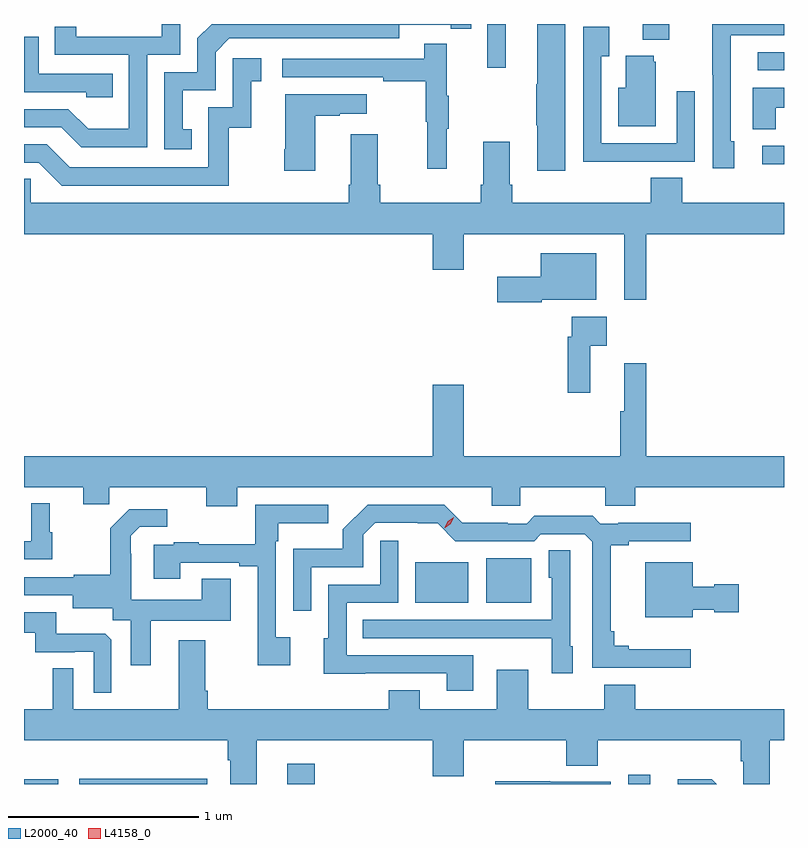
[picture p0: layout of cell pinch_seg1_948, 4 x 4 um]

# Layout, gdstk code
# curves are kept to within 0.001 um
import gdstk
lib = gdstk.Library(unit=1e-6, precision=1e-09)
def R(c, l, rs):  # rectangles x0, y0, x1, y1
    for r in rs: c.add(gdstk.rectangle(r[:2], r[2:], *l))
def P(c, l, *ps):  # polygons
    for p in ps: c.add(gdstk.Polygon(p, *l))
L2000_40 = (2000, 40)
L4158_0 = (4158, 0)

pinch_seg1_948 = lib.new_cell('pinch_seg1_948')
R(pinch_seg1_948, L2000_40, [(186.834,510.21,187.014,510.236), (187.125,510.21,187.798,510.238), (188.219,510.21,188.363,510.316), (190.014,510.21,190.129,510.259), (188.894,511.163,189.172,511.378), (189.266,511.163,189.505,511.399), (190.719,513.472,190.834,513.57), (190.695,513.966,190.834,514.062), (189.273,513.981,189.37,514.21), (190.091,514.127,190.231,514.21)])
P(pinch_seg1_948, L2000_40, [(190.573,513.594),(190.554,513.594),(190.554,514.152),(190.834,514.152),(190.834,514.21),(190.456,514.21),(190.456,513.943),(190.458,513.943),(190.458,513.45),(190.573,513.45)],
  [(187.718,513.657),(187.669,513.657),(187.669,513.861),(187.842,513.861),(187.842,514.062),(187.914,514.134),(188.808,514.134),(188.808,514.206),(189.08,514.206),(189.08,514.186),(189.188,514.186),(189.188,514.21),(187.822,514.21),(187.746,514.134),(187.746,513.957),(187.572,513.957),(187.572,513.552),(187.718,513.552)],
  [(187.482,514.047),(187.656,514.047),(187.656,514.21),(187.559,514.21),(187.559,514.143),(187.108,514.143),(187.108,514.195),(186.997,514.195),(186.997,514.047),(187.386,514.047),(187.386,513.658),(187.172,513.658),(187.068,513.762),(186.834,513.762),(186.834,513.666),(187.031,513.666),(187.136,513.561),(187.482,513.561)],
  [(189.682,514.21),(189.536,514.21),(189.536,513.893),(189.529,513.893),(189.529,513.676),(189.536,513.676),(189.536,513.438),(189.682,513.438)],
  [(190.049,513.486),(190.365,513.486),(190.365,513.856),(190.269,513.856),(190.269,513.582),(189.873,513.582),(189.873,514.039),(189.913,514.039),(189.913,514.195),(189.777,514.195),(189.777,513.485),(190.049,513.485)],
  [(187.301,513.948),(186.912,513.948),(186.912,514.143),(186.834,514.143),(186.834,513.852),(187.161,513.852),(187.161,513.825),(187.301,513.825)],
  [(189.059,513.659),(189.07,513.659),(189.07,513.833),(189.059,513.833),(189.059,514.105),(188.941,514.105),(188.941,514.026),(188.193,514.026),(188.193,513.93),(188.725,513.93),(188.725,513.91),(188.949,513.91),(188.949,513.696),(188.956,513.696),(188.956,513.447),(189.059,513.447)],
  [(190.159,514.011),(190.148,514.011),(190.148,514.042),(190.001,514.042),(190.001,513.874),(189.962,513.874),(189.962,513.671),(190.159,513.671)],
  [(187.912,513.663),(188.03,513.663),(188.03,513.909),(188.083,513.909),(188.083,514.03),(187.932,514.03),(187.932,513.771),(187.803,513.771),(187.803,513.456),(187.074,513.456),(186.954,513.576),(186.834,513.576),(186.834,513.48),(186.912,513.48),(187.032,513.36),(187.912,513.36)],
  [(190.791,513.77),(190.834,513.77),(190.834,513.874),(190.67,513.874),(190.67,513.655),(190.791,513.655)],
  [(188.368,513.727),(188.495,513.727),(188.495,513.737),(188.638,513.737),(188.638,513.841),(188.21,513.841),(188.21,513.55),(188.203,513.55),(188.203,513.438),(188.368,513.438)],
  [(190.109,513.104),(190.834,513.104),(190.834,513.268),(190.298,513.268),(190.298,513.401),(190.133,513.401),(190.133,513.268),(189.404,513.268),(189.404,513.364),(189.391,513.364),(189.391,513.589),(189.251,513.589),(189.251,513.364),(189.239,513.364),(189.239,513.268),(188.708,513.268),(188.708,513.364),(188.695,513.364),(188.695,513.631),(188.555,513.631),(188.555,513.364),(188.543,513.364),(188.543,513.268),(186.87,513.268),(186.87,513.395),(186.834,513.395),(186.834,513.104),(188.984,513.104),(188.984,512.916),(189.148,512.916),(189.148,513.104),(189.992,513.104),(189.992,512.76),(190.109,512.76)],
  [(189.558,512.759),(189.847,512.759),(189.847,513.004),(189.554,513.004),(189.554,512.881),(189.324,512.881),(189.324,512.746),(189.558,512.746)],
  [(189.815,512.516),(189.901,512.516),(189.901,512.668),(189.717,512.668),(189.717,512.564),(189.697,512.564),(189.697,512.268),(189.815,512.268)],
  [(187.957,511.772),(189.296,511.772),(189.296,511.674),(189.447,511.674),(189.447,511.772),(189.892,511.772),(189.892,511.674),(190.052,511.674),(190.052,511.772),(190.834,511.772),(190.834,511.936),(190.109,511.936),(190.109,512.425),(189.992,512.425),(189.992,512.172),(189.973,512.172),(189.973,511.936),(189.148,511.936),(189.148,512.311),(188.984,512.311),(188.984,511.936),(186.834,511.936),(186.834,511.772),(187.145,511.772),(187.145,511.682),(187.283,511.682),(187.283,511.772),(187.793,511.772),(187.793,511.673),(187.957,511.673)],
  [(186.982,511.536),(186.97,511.536),(186.97,511.687),(186.872,511.687),(186.872,511.488),(186.834,511.488),(186.834,511.392),(186.982,511.392)],
  [(188.236,510.982),(188.16,510.982),(188.16,511.487),(188.173,511.487),(188.173,511.583),(188.434,511.583),(188.434,511.68),(188.052,511.68),(188.052,511.472),(187.753,511.472),(187.753,511.483),(187.621,511.483),(187.621,511.47),(187.517,511.47),(187.517,511.29),(187.657,511.29),(187.657,511.374),(187.967,511.374),(187.967,511.356),(188.063,511.356),(188.063,510.834),(188.236,510.834)],
  [(190.342,510.919),(190.018,510.919),(190.018,510.938),(189.941,510.938),(189.941,511.015),(189.923,511.015),(189.923,511.466),(190.018,511.466),(190.018,511.488),(190.342,511.488),(190.342,511.586),(189.961,511.586),(189.961,511.581),(189.867,511.581),(189.827,511.621),(189.52,511.621),(189.48,511.581),(189.38,511.581),(189.38,511.586),(189.14,511.586),(189.045,511.68),(188.642,511.68),(188.512,511.55),(188.512,511.447),(188.25,511.447),(188.25,511.122),(188.346,511.122),(188.346,511.35),(188.619,511.35),(188.619,511.521),(188.682,511.584),(189.011,511.583),(189.105,511.488),(189.519,511.488),(189.555,511.524),(189.786,511.524),(189.825,511.485),(189.825,510.822),(190.342,510.822)],
  [(187.501,511.07),(187.921,511.07),(187.921,511.289),(187.769,511.289),(187.769,511.18),(187.398,511.18),(187.398,511.421),(187.396,511.421),(187.396,511.516),(187.443,511.563),(187.588,511.563),(187.588,511.657),(187.387,511.657),(187.287,511.557),(187.287,511.312),(187.095,511.312),(187.095,511.299),(186.834,511.299),(186.834,511.203),(187.091,511.203),(187.091,511.136),(187.302,511.136),(187.302,511.072),(187.397,511.072),(187.397,510.834),(187.501,510.834)],
  [(189.199,510.888),(188.532,510.888),(188.532,511.164),(188.805,511.164),(188.805,511.489),(188.709,511.489),(188.709,511.26),(188.436,511.26),(188.436,510.978),(188.411,510.978),(188.411,510.791),(188.629,510.791),(188.629,510.792),(189.059,510.792),(189.059,510.702),(189.199,510.702)],
  [(189.721,510.936),(189.708,510.936),(189.708,511.439),(189.596,511.439),(189.596,511.296),(189.612,511.296),(189.612,511.074),(188.617,511.074),(188.617,510.978),(189.295,510.978),(189.295,510.977),(189.612,510.977),(189.612,510.792),(189.721,510.792)],
  [(190.354,511.127),(190.467,511.127),(190.467,511.115),(190.597,511.115),(190.597,511.262),(190.467,511.262),(190.467,511.249),(190.354,511.249),(190.354,511.378),(190.103,511.378),(190.103,511.088),(190.354,511.088)],
  [(187.293,510.969),(187.261,511.001),(187.003,511.001),(187.003,511.113),(186.834,511.113),(186.834,511.005),(186.893,511.005),(186.893,510.903),(187.1,510.903),(187.1,510.906),(187.2,510.906),(187.2,510.689),(187.293,510.689)],
  [(188.059,510.44),(188.984,510.44),(188.984,510.252),(189.148,510.252),(189.148,510.44),(189.689,510.44),(189.689,510.307),(189.854,510.307),(189.854,510.44),(190.607,510.44),(190.607,510.331),(190.62,510.331),(190.62,510.21),(190.759,510.21),(190.759,510.44),(190.834,510.44),(190.834,510.604),(190.051,510.604),(190.051,510.733),(189.887,510.733),(189.887,510.604),(189.487,510.604),(189.487,510.811),(189.323,510.811),(189.323,510.604),(188.917,510.604),(188.917,510.703),(188.753,510.703),(188.753,510.604),(187.802,510.604),(187.802,510.7),(187.789,510.7),(187.789,510.967),(187.649,510.967),(187.649,510.604),(187.092,510.604),(187.092,510.818),(186.984,510.818),(186.984,510.604),(186.834,510.604),(186.834,510.44),(187.907,510.44),(187.907,510.334),(187.919,510.334),(187.919,510.21),(188.059,510.21)],
  [(190.453,510.236),(190.275,510.236),(190.275,510.21),(190.479,510.21)],
  [(189.921,510.222),(189.605,510.222),(189.605,510.224),(189.313,510.224),(189.313,510.21),(189.921,510.21)])
P(pinch_seg1_948, L4158_0, [(189.049,511.56),(189.049,511.56),(189.065,511.594),(189.096,511.614),(189.097,511.614),(189.097,511.614),(189.08,511.58),(189.05,511.56)])

lib.write_gds('pinch_seg1_948.gds')
